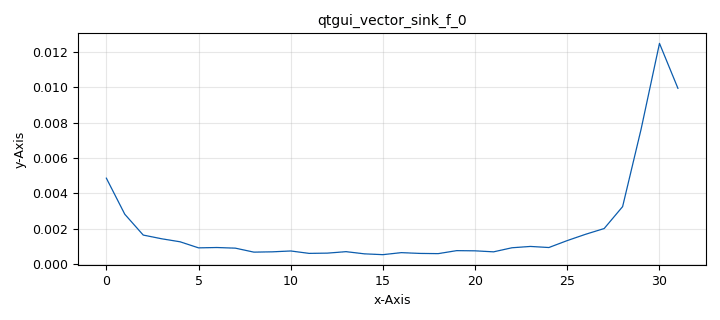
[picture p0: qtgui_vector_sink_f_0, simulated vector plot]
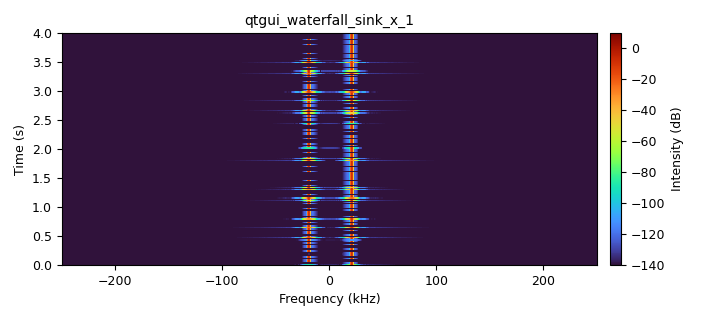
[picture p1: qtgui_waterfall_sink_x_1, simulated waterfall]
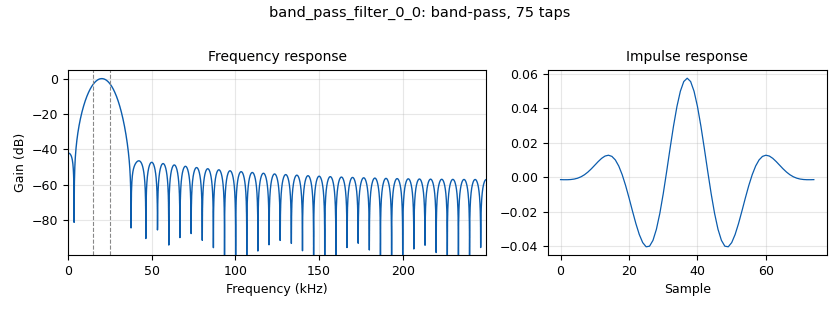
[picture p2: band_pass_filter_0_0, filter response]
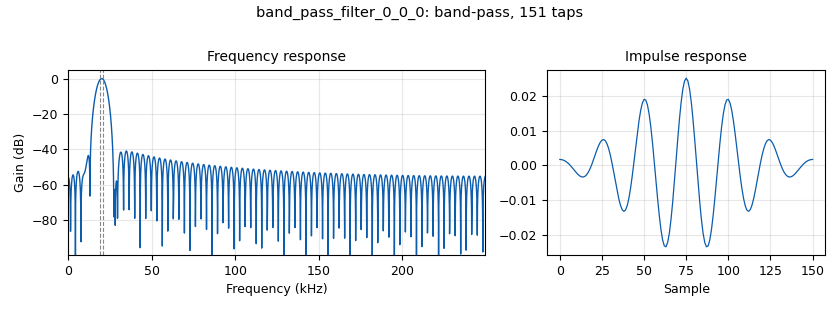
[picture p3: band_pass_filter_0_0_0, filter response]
options:
  parameters:
    author: sennels
    generate_options: qt_gui
    id: Transfrans
    output_language: python
    title: Not titled yet
  states: {}

blocks:
- name: Base_samp_rate
  id: variable
  parameters:
    value: Symbol_rate*samples_pr_sym
  states: {}
- name: FFT_bins
  id: variable
  parameters:
    value: '32'
  states: {}
- name: PI
  id: variable
  parameters:
    value: '3.14159265358979323'
  states: {}
- name: Symbol_rate
  id: variable
  parameters:
    value: '128'
  states: {}
- name: samp_rate
  id: variable
  parameters:
    value: '500000'
  states: {}
- name: samples_pr_sym
  id: variable
  parameters:
    value: '2'
  states: {}
- name: sep_freq
  id: variable
  parameters:
    value: '20000'
  states: {}
- name: toggle_amplitude
  id: variable_qtgui_toggle_button_msg
  parameters:
    initPressed: 'False'
    label: Transmitting
    outputmsgname: toggle_amplitude
    pressed: '1'
    released: '-1'
    type: real
    value: '-1'
  states: {}
- name: analog_quadrature_demod_cf_0
  id: analog_quadrature_demod_cf
  parameters:
    gain: samp_rate/(2*math.pi*sep_freq)
  states: {}
- name: band_pass_filter_0_0
  id: band_pass_filter
  parameters:
    decim: '1'
    gain: '1'
    high_cutoff_freq: sep_freq+5000
    low_cutoff_freq: sep_freq-5000
    samp_rate: samp_rate
    type: fir_filter_ccf
    width: '16000'
    win: window.WIN_HAMMING
  states: {}
- name: band_pass_filter_0_0_0
  id: band_pass_filter
  parameters:
    decim: '1'
    gain: '1'
    high_cutoff_freq: sep_freq+1000
    low_cutoff_freq: sep_freq-1000
    samp_rate: samp_rate
    type: fir_filter_ccf
    width: '8000'
    win: window.WIN_HAMMING
  states: {}
- name: blocks_complex_to_mag_0
  id: blocks_complex_to_mag
  parameters:
    vlen: FFT_bins
  states: {}
- name: blocks_multiply_const_vxx_0
  id: blocks_multiply_const_vxx
  parameters:
    const: toggle_amplitude
    type: float
  states: {}
- name: blocks_multiply_const_vxx_0_0
  id: blocks_multiply_const_vxx
  parameters:
    const: sep_freq
    type: float
  states: {}
- name: blocks_multiply_const_xx_0
  id: blocks_multiply_const_xx
  parameters:
    const: '1000'
    type: complex
  states: {}
- name: blocks_repeat_0
  id: blocks_repeat
  parameters:
    interp: int((samp_rate)/(Symbol_rate))
    type: float
  states: {}
- name: blocks_stream_to_vector_1
  id: blocks_stream_to_vector
  parameters:
    num_items: '32'
    type: complex
  states: {}
- name: blocks_throttle2_0
  id: blocks_throttle2
  parameters:
    samples_per_second: samp_rate
    type: float
  states: {}
- name: blocks_vco_c_0_0
  id: blocks_vco_c
  parameters:
    amplitude: '1'
    samp_rate: samp_rate
    sensitivity: 2*PI
  states: {}
- name: blocks_vector_source_x_0
  id: blocks_vector_source_x
  parameters:
    repeat: 'True'
    type: float
    vector: (-1, -1, -1, -1, -1, -1, -1, 1, -1, 1, 1, -1, -1, -1, 1, 1, -1, 1, 1, 1, -1, -1, 1, -1, -1, -1, -1, -1, 1, 1, 1)
  states: {}
- name: blocks_vector_to_stream_0
  id: blocks_vector_to_stream
  parameters:
    num_items: '32'
    type: float
  states: {}
- name: channels_channel_model_0
  id: channels_channel_model
  parameters:
    epsilon: '1.0'
    freq_offset: '0.0'
    noise_voltage: '0.001'
    seed: '0'
    taps: '1.0'
  states: {state: bypassed}
- name: fft_vxx_0
  id: fft_vxx
  parameters:
    fft_size: FFT_bins
    forward: 'True'
    shift: 'True'
    type: complex
    window: window.blackmanharris(FFT_bins)
  states: {}
- name: network_udp_sink_1
  id: network_udp_sink
  parameters:
    addr: 127.0.0.1
    header: '0'
    payloadsize: FFT_bins*4
    port: '5006'
    send_eof: 'False'
    type: float
  states: {}
- name: qtgui_vector_sink_f_0
  id: qtgui_vector_sink_f
  parameters:
    autoscale: 'True'
    update_time: '0.02'
    vlen: '32'
    x_start: '0'
    x_step: '1.0'
    ymin: '-60'
  states: {}
- name: qtgui_waterfall_sink_x_1
  id: qtgui_waterfall_sink_x
  parameters:
    bw: samp_rate
    fc: '0'
    fftsize: '1024'
    type: complex
  states: {}
- name: rational_resampler_xxx_0
  id: rational_resampler_xxx
  parameters:
    decim: samp_rate
    interp: Base_samp_rate*FFT_bins
    type: ccc
  states: {}
- name: uhd_usrp_source_0
  id: uhd_usrp_source
  parameters:
    ant0: '"RX2"'
    center_freq0: '2490000000'
    gain0: '30'
    rx_agc0: Disabled
    samp_rate: samp_rate
    sync: sync
    type: fc32
  states: {state: disabled}

connections:
- [band_pass_filter_0_0, '0', analog_quadrature_demod_cf_0, '0']
- [band_pass_filter_0_0, '0', qtgui_waterfall_sink_x_1, '0']
- [band_pass_filter_0_0, '0', rational_resampler_xxx_0, '0']
- [band_pass_filter_0_0_0, '0', band_pass_filter_0_0, '0']
- [blocks_complex_to_mag_0, '0', blocks_vector_to_stream_0, '0']
- [blocks_complex_to_mag_0, '0', qtgui_vector_sink_f_0, '0']
- [blocks_multiply_const_vxx_0, '0', blocks_vco_c_0_0, '0']
- [blocks_multiply_const_vxx_0_0, '0', blocks_multiply_const_vxx_0, '0']
- [blocks_multiply_const_xx_0, '0', blocks_stream_to_vector_1, '0']
- [blocks_repeat_0, '0', blocks_throttle2_0, '0']
- [blocks_stream_to_vector_1, '0', fft_vxx_0, '0']
- [blocks_throttle2_0, '0', blocks_multiply_const_vxx_0_0, '0']
- [blocks_vco_c_0_0, '0', channels_channel_model_0, '0']
- [blocks_vector_source_x_0, '0', blocks_repeat_0, '0']
- [blocks_vector_to_stream_0, '0', network_udp_sink_1, '0']
- [channels_channel_model_0, '0', band_pass_filter_0_0_0, '0']
- [fft_vxx_0, '0', blocks_complex_to_mag_0, '0']
- [rational_resampler_xxx_0, '0', blocks_multiply_const_xx_0, '0']
- [uhd_usrp_source_0, '0', band_pass_filter_0_0, '0']

metadata:
  file_format: 1
  grc_version: 3.10.9.2
